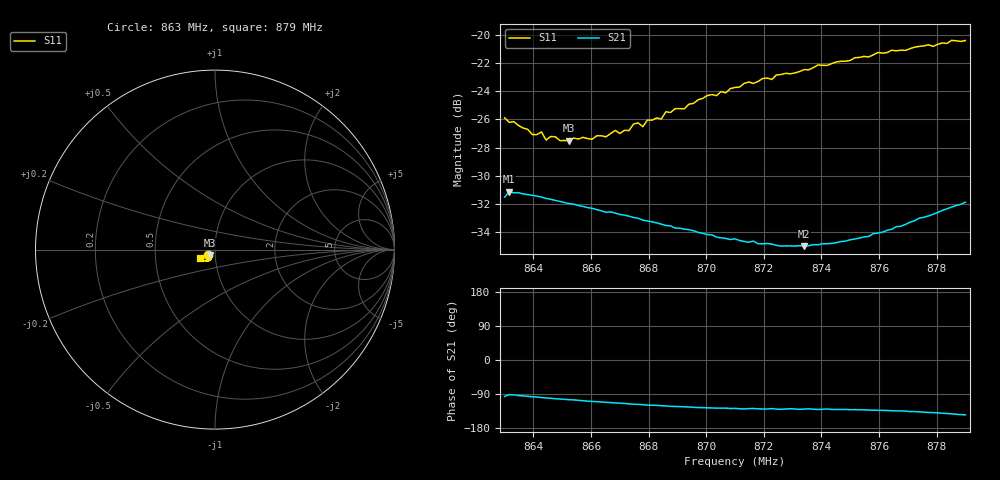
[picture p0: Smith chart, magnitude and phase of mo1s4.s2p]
# HZ S RI R 50
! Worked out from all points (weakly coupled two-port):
!   101 points, 863 MHz to 879 MHz, reference 50 ohm
!   highest |S21| = -31.13 dB at 863.16 MHz (marker M1); lowest = -35.0 dB at 873.4 MHz (marker M2)
!   lowest |S11| = -27.5 dB at 865.24 MHz (marker M3), VSWR 1.09, Z = 47.3 - j3.08 ohm
!   |S11| at or under -10 dB: start of sweep to end of sweep
!   S12 and S22 are empty: the file has one direction only
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8.63e8  -0.041 -0.0299  -0.00287 -0.0264  0 0  0 0
8.6316e8  -0.0385 -0.0302  -0.000675 -0.0278  0 0  0 0
8.6396e8  -0.0328 -0.0298  -0.00332 -0.0268  0 0  0 0
8.6428e8  -0.0321 -0.0319  -0.00419 -0.0263  0 0  0 0
8.6444e8  -0.03 -0.0299  -0.00462 -0.0259  0 0  0 0
8.646e8  -0.0304 -0.0312  -0.005 -0.0256  0 0  0 0
8.6524e8  -0.0267 -0.0325  -0.00643 -0.0244  0 0  0 0
8.6572e8  -0.0254 -0.035  -0.0074 -0.0235  0 0  0 0
8.6652e8  -0.0223 -0.0373  -0.0087 -0.0218  0 0  0 0
8.6684e8  -0.0225 -0.0399  -0.00927 -0.0214  0 0  0 0
8.6732e8  -0.0211 -0.0406  -0.00988 -0.0205  0 0  0 0
8.6748e8  -0.02 -0.0439  -0.0101 -0.0201  0 0  0 0
8.678e8  -0.0209 -0.0424  -0.0103 -0.0195  0 0  0 0
8.6796e8  -0.0212 -0.0451  -0.0106 -0.0192  0 0  0 0
8.6844e8  -0.0203 -0.046  -0.0109 -0.0184  0 0  0 0
8.686e8  -0.0213 -0.0488  -0.011 -0.018  0 0  0 0
8.6924e8  -0.0222 -0.0499  -0.0113 -0.0171  0 0  0 0
8.71e8  -0.029 -0.0582  -0.0116 -0.015  0 0  0 0
8.734e8  -0.0406 -0.0632  -0.0113 -0.0137  0 0  0 0
8.7372e8  -0.0427 -0.0634  -0.0116 -0.0138  0 0  0 0
8.7644e8  -0.0642 -0.0602  -0.0142 -0.0147  0 0  0 0
8.79e8  -0.0824 -0.0478  -0.0208 -0.0147  0 0  0 0
